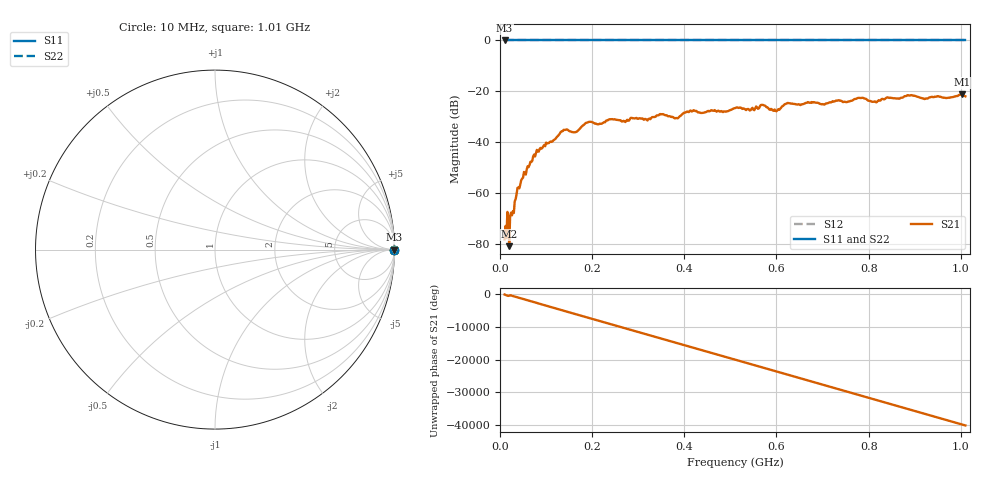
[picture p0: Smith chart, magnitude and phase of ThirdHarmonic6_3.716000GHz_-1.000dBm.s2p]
! 8/17/2025 12:39:58 PM
! C:\ANRITSUVNA\TEMP\TEMP.S2P
! CHANNEL.1
! TR.MEASUREMENT
! RAW.DATA
! RF.CORRECTION.OFF
! AVERAGING.OFF
! IF.BANDWIDTH: 5KHZ
! SWEEPTYPE:  FREQ.SWEEP(Linear)
! Reference Plane Port Info
! PORT:  PORT1  PORT2
! DISTANCE:  0  m  0  m
! TIME:  0  s  0  s
! PHASE.OFFSET:  0  deg.  0  deg.
! LOSS:  0  dB  0  dB
! REF.LOSS:  0  dB  0  dB
! REF.FREQ:  0  Hz  0  Hz
! Power Info
! POWER:  -20  dBm  -20  dBm
! EFF.POWER:  -20  dBm  -20  dBm
! SOURCE.ATTEN:  0  dB  0  dB
! TEST.ATTEN:  0  dB  0  dB
# GHZ S RI R 50.0
! FREQ.GHZ  S11RE  S11IM  S21RE  S21IM  S12RE  S12IM  S22RE  S22IM
!; PortSelection: Port_12
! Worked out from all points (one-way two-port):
!   501 points, 10 MHz to 1.01 GHz, reference 50 ohm
!   highest |S21| = -21.22 dB at 1.002 GHz (marker M1); lowest = -80.9 dB at 20 MHz (marker M2)
!   lowest |S11| = 0.0 dB at 10 MHz (marker M3)
!   |S11| at or under -10 dB: nowhere
!   |S22| runs from 0.0 to 0.0 dB; largest |S21 - S12| = 1.1
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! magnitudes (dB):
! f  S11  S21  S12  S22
! 10 MHz  0.0  -78.3  0.0  0.0
! 14 MHz  0.0  -77.8  0.0  0.0
! 20 MHz  0.0  -80.9  0.0  0.0
! 24 MHz  0.0  -67.7  0.0  0.0
! 42 MHz  0.0  -58.1  0.0  0.0
! 76 MHz  0.0  -45.7  0.0  0.0
! 136 MHz  0.0  -35.7  0.0  0.0
! 164 MHz  0.0  -36.1  0.0  0.0
! 178 MHz  0.0  -33.7  0.0  0.0
! 344 MHz  0.0  -29.4  0.0  0.0
! 382 MHz  0.0  -30.5  0.0  0.0
! 416 MHz  0.0  -27.9  0.0  0.0
! 510 MHz  0.0  -26.6  0.0  0.0
! 570 MHz  0.0  -25.3  0.0  0.0
! 598 MHz  0.0  -27.7  0.0  0.0
! 622 MHz  0.0  -24.8  0.0  0.0
! 678 MHz  0.0  -24.5  0.0  0.0
! 782 MHz  0.0  -22.6  0.0  0.0
! 814 MHz  0.0  -24.0  0.0  0.0
! 844 MHz  0.0  -22.5  0.0  0.0
! 1.002 GHz  0.0  -21.2  0.0  0.0
! 1.01 GHz  0.0  -22.0  0.0  0.0
